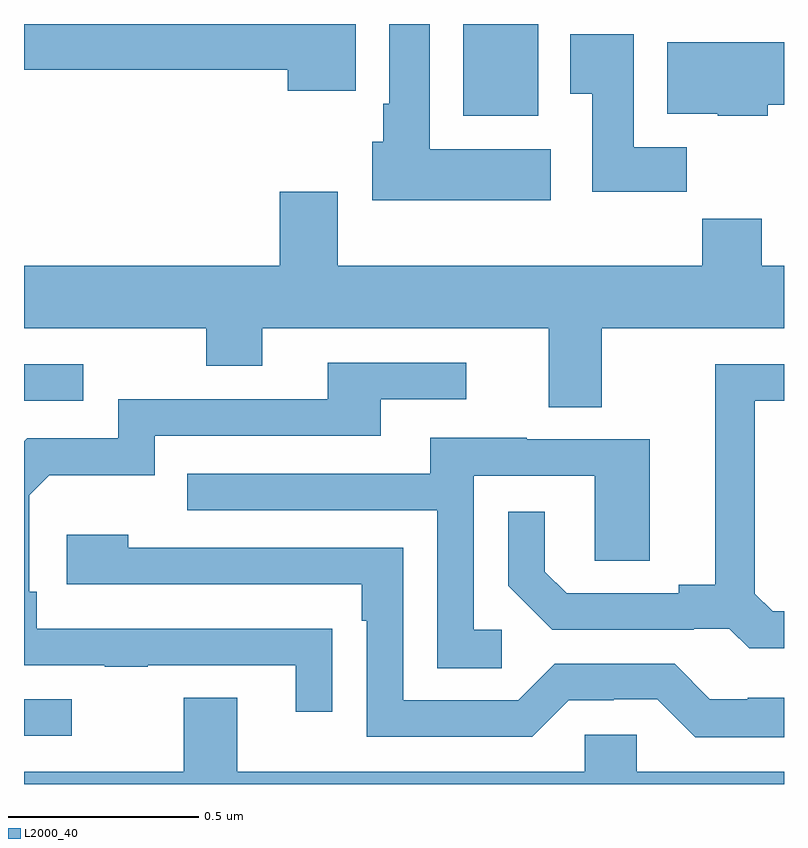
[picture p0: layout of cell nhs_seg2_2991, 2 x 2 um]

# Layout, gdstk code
import gdstk
lib = gdstk.Library(unit=1e-6, precision=1e-09)
def R(c, l, rs):  # rectangles x0, y0, x1, y1
    for r in rs: c.add(gdstk.rectangle(r[:2], r[2:], *l))
def P(c, l, *ps):  # polygons
    for p in ps: c.add(gdstk.Polygon(p, *l))
L2000_40 = (2000, 40)

nhs_seg2_2991 = lib.new_cell('nhs_seg2_2991')
R(nhs_seg2_2991, L2000_40, [(148,615.927,148.126,616.023), (148,616.809,148.156,616.905), (149.156,617.558,149.353,617.8)])
P(nhs_seg2_2991, L2000_40, [(148.873,617.8),(148,617.8),(148,617.68),(148.694,617.68),(148.694,617.624),(148.873,617.624)],
  [(149.386,617.47),(149.068,617.47),(149.068,617.8),(148.961,617.8),(148.961,617.59),(148.946,617.59),(148.946,617.49),(148.916,617.49),(148.916,617.336),(149.386,617.336)],
  [(149.744,617.476),(149.605,617.476),(149.605,617.773),(149.438,617.773),(149.438,617.617),(149.495,617.617),(149.495,617.358),(149.744,617.358)],
  [(149.957,617.587),(150,617.587),(150,617.752),(149.693,617.752),(149.693,617.564),(149.826,617.564),(149.826,617.558),(149.957,617.558)],
  [(149.521,617),(150,617),(150,617.164),(149.942,617.164),(149.942,617.288),(149.785,617.288),(149.785,617.164),(148.825,617.164),(148.825,617.359),(148.673,617.359),(148.673,617.164),(148,617.164),(148,617),(148.48,617),(148.48,616.901),(148.627,616.901),(148.627,617),(149.381,617),(149.381,616.792),(149.521,616.792)],
  [(148.811,616.208),(148.709,616.208),(148.709,616.209),(148.034,616.209),(148.034,616.306),(148.014,616.306),(148.014,616.56),(148.067,616.613),(148.344,616.613),(148.344,616.716),(148.939,616.716),(148.939,616.812),(149.164,616.812),(149.164,616.908),(148.799,616.908),(148.799,616.812),(148.248,616.812),(148.248,616.71),(148.008,616.71),(148,616.702),(148,616.113),(148.213,616.113),(148.213,616.108),(148.325,616.108),(148.325,616.113),(148.715,616.113),(148.715,615.99),(148.811,615.99)],
  [(150,616.254),(149.97,616.254),(149.923,616.301),(149.923,616.809),(150,616.809),(150,616.905),(149.819,616.905),(149.819,616.325),(149.723,616.325),(149.723,616.302),(149.428,616.302),(149.371,616.359),(149.371,616.516),(149.274,616.516),(149.274,616.322),(149.39,616.206),(149.762,616.206),(149.762,616.209),(149.856,616.209),(149.908,616.157),(150,616.157)],
  [(149.257,616.206),(149.184,616.206),(149.184,616.611),(149.502,616.611),(149.502,616.387),(149.647,616.387),(149.647,616.707),(149.323,616.707),(149.323,616.711),(149.069,616.711),(149.069,616.617),(148.429,616.617),(148.429,616.521),(149.088,616.521),(149.088,616.105),(149.257,616.105)],
  [(150,616.027),(149.905,616.027),(149.905,616.023),(149.805,616.023),(149.712,616.116),(149.397,616.116),(149.301,616.02),(148.998,616.02),(148.998,616.422),(148.274,616.422),(148.274,616.456),(148.113,616.456),(148.113,616.326),(148.889,616.326),(148.889,616.229),(148.902,616.229),(148.902,615.924),(149.337,615.924),(149.433,616.02),(149.552,616.02),(149.552,616.023),(149.667,616.023),(149.767,615.923),(150,615.923)],
  [(150,615.832),(149.613,615.832),(149.613,615.93),(149.475,615.93),(149.475,615.832),(148.561,615.832),(148.561,616.027),(148.421,616.027),(148.421,615.832),(148,615.832),(148,615.8),(150,615.8)])

lib.write_gds('nhs_seg2_2991.gds')
